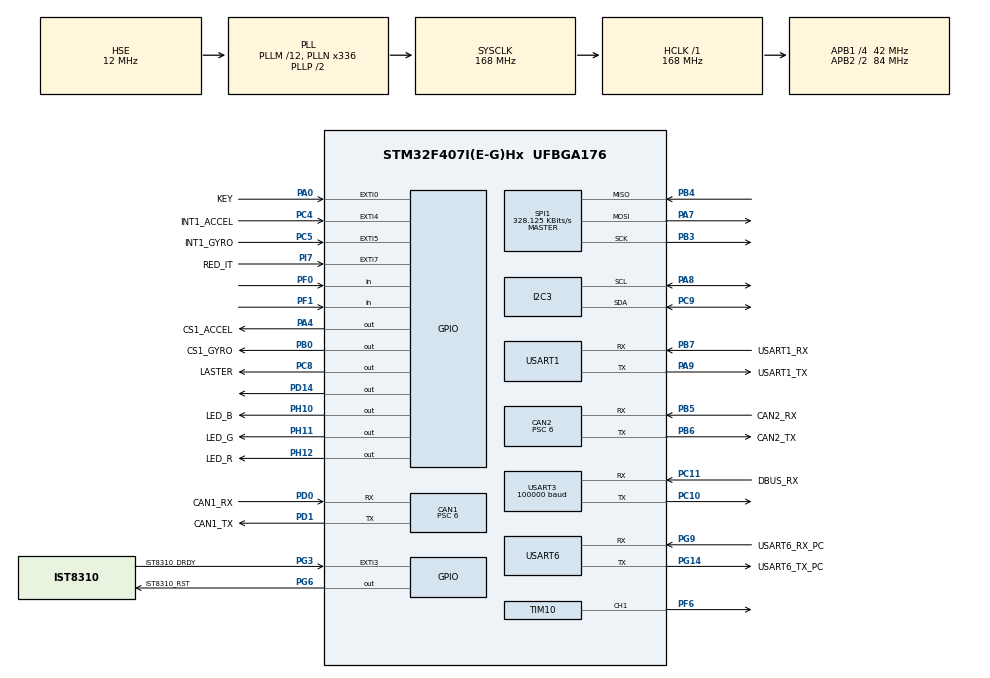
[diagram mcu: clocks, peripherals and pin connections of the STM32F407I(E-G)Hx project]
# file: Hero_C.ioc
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CAN1.BS1=CAN_BS1_2TQ
CAN1.BS2=CAN_BS2_4TQ
CAN1.CalculateTimeQuantum=142.85714285714286
CAN1.Prescaler=6
CAN2.BS1=CAN_BS1_2TQ
CAN2.BS2=CAN_BS2_4TQ
CAN2.CalculateTimeQuantum=142.85714285714286
CAN2.Prescaler=6
Dma.Request0=USART3_RX
Dma.Request1=USART6_RX
Dma.Request2=SPI1_RX
Dma.Request3=SPI1_TX
Dma.Request4=USART1_RX
Dma.SPI1_RX.2.Direction=DMA_PERIPH_TO_MEMORY
Dma.SPI1_RX.2.FIFOMode=DMA_FIFOMODE_DISABLE
Dma.SPI1_RX.2.Instance=DMA2_Stream2
Dma.SPI1_RX.2.MemDataAlignment=DMA_MDATAALIGN_BYTE
Dma.SPI1_RX.2.MemInc=DMA_MINC_ENABLE
Dma.SPI1_RX.2.Mode=DMA_NORMAL
Dma.SPI1_RX.2.PeriphDataAlignment=DMA_PDATAALIGN_BYTE
Dma.SPI1_RX.2.PeriphInc=DMA_PINC_DISABLE
Dma.SPI1_RX.2.Priority=DMA_PRIORITY_VERY_HIGH
Dma.SPI1_TX.3.Direction=DMA_MEMORY_TO_PERIPH
Dma.SPI1_TX.3.FIFOMode=DMA_FIFOMODE_DISABLE
Dma.SPI1_TX.3.Instance=DMA2_Stream3
Dma.SPI1_TX.3.MemDataAlignment=DMA_MDATAALIGN_BYTE
Dma.SPI1_TX.3.MemInc=DMA_MINC_ENABLE
Dma.SPI1_TX.3.Mode=DMA_NORMAL
Dma.SPI1_TX.3.PeriphDataAlignment=DMA_PDATAALIGN_BYTE
Dma.SPI1_TX.3.PeriphInc=DMA_PINC_DISABLE
Dma.SPI1_TX.3.Priority=DMA_PRIORITY_HIGH
Dma.USART1_RX.4.Direction=DMA_PERIPH_TO_MEMORY
Dma.USART1_RX.4.FIFOMode=DMA_FIFOMODE_DISABLE
Dma.USART1_RX.4.Instance=DMA2_Stream5
Dma.USART1_RX.4.MemDataAlignment=DMA_MDATAALIGN_BYTE
Dma.USART1_RX.4.MemInc=DMA_MINC_ENABLE
Dma.USART1_RX.4.Mode=DMA_CIRCULAR
Dma.USART1_RX.4.PeriphDataAlignment=DMA_PDATAALIGN_BYTE
Dma.USART1_RX.4.PeriphInc=DMA_PINC_DISABLE
Dma.USART1_RX.4.Priority=DMA_PRIORITY_LOW
Dma.USART3_RX.0.Direction=DMA_PERIPH_TO_MEMORY
Dma.USART3_RX.0.FIFOMode=DMA_FIFOMODE_DISABLE
Dma.USART3_RX.0.Instance=DMA1_Stream1
Dma.USART3_RX.0.MemDataAlignment=DMA_MDATAALIGN_BYTE
Dma.USART3_RX.0.MemInc=DMA_MINC_ENABLE
Dma.USART3_RX.0.Mode=DMA_CIRCULAR
Dma.USART3_RX.0.PeriphDataAlignment=DMA_PDATAALIGN_BYTE
Dma.USART3_RX.0.PeriphInc=DMA_PINC_DISABLE
Dma.USART3_RX.0.Priority=DMA_PRIORITY_HIGH
Dma.USART6_RX.1.Direction=DMA_PERIPH_TO_MEMORY
Dma.USART6_RX.1.FIFOMode=DMA_FIFOMODE_DISABLE
Dma.USART6_RX.1.Instance=DMA2_Stream1
Dma.USART6_RX.1.MemDataAlignment=DMA_MDATAALIGN_BYTE
Dma.USART6_RX.1.MemInc=DMA_MINC_ENABLE
Dma.USART6_RX.1.Mode=DMA_CIRCULAR
Dma.USART6_RX.1.PeriphDataAlignment=DMA_PDATAALIGN_BYTE
Dma.USART6_RX.1.PeriphInc=DMA_PINC_DISABLE
Dma.USART6_RX.1.Priority=DMA_PRIORITY_HIGH
FREERTOS.INCLUDE_vTaskDelayUntil=1
FREERTOS.Tasks01=defaultTask,0,128,StartDefaultTask,Default,NULL
I2C3.I2C_Mode=I2C_Fast
Mcu.Family=STM32F4
Mcu.Name=STM32F407I(E-G)Hx
Mcu.Package=UFBGA176
NVIC.CAN1_RX0_IRQn=true\:5\:0\:false\:false\:true\:true\:true\:true
NVIC.CAN2_RX0_IRQn=true\:5\:0\:false\:false\:true\:true\:true\:true
NVIC.DMA1_Stream1_IRQn=true\:5\:0\:false\:false\:true\:true\:false\:true
NVIC.DMA2_Stream1_IRQn=true\:5\:0\:false\:false\:true\:true\:false\:true
NVIC.DMA2_Stream2_IRQn=true\:0\:0\:false\:false\:true\:false\:false\:true
NVIC.DMA2_Stream3_IRQn=true\:5\:0\:false\:false\:true\:true\:false\:true
NVIC.DMA2_Stream5_IRQn=true\:5\:0\:false\:false\:true\:true\:false\:true
NVIC.EXTI0_IRQn=true\:0\:0\:false\:false\:true\:false\:true\:true
NVIC.EXTI3_IRQn=true\:0\:0\:false\:false\:true\:false\:true\:true
NVIC.EXTI4_IRQn=true\:0\:0\:false\:false\:true\:false\:true\:true
NVIC.EXTI9_5_IRQn=true\:0\:0\:false\:false\:true\:false\:true\:true
NVIC.PriorityGroup=NVIC_PRIORITYGROUP_4
NVIC.TIM2_IRQn=true\:0\:0\:false\:false\:true\:false\:false\:true
NVIC.TIM4_IRQn=true\:5\:0\:false\:false\:true\:true\:true\:true
NVIC.TimeBase=TIM2_IRQn
NVIC.TimeBaseIP=TIM2
NVIC.USART1_IRQn=true\:5\:0\:false\:false\:true\:true\:true\:true
NVIC.USART3_IRQn=true\:5\:0\:false\:false\:true\:true\:true\:true
NVIC.USART6_IRQn=true\:5\:0\:false\:false\:true\:true\:true\:true
PA0-WKUP.GPIO_Label=KEY
PA0-WKUP.Signal=GPXTI0
PA13.Mode=Serial_Wire
PA13.Signal=SYS_JTMS-SWDIO
PA14.Mode=Serial_Wire
PA14.Signal=SYS_JTCK-SWCLK
PA4.GPIO_Label=CS1_ACCEL
PA4.GPIO_PuPd=GPIO_PULLUP
PA4.GPIO_Speed=GPIO_SPEED_FREQ_HIGH
PA4.PinState=GPIO_PIN_SET
PA4.Signal=GPIO_Output
PA7.Mode=Full_Duplex_Master
PA7.Signal=SPI1_MOSI
PA8.Mode=I2C
PA8.Signal=I2C3_SCL
PA9.GPIO_Label=USART1_TX
PA9.Mode=Asynchronous
PA9.Signal=USART1_TX
PB0.GPIO_Label=CS1_GYRO
PB0.GPIO_PuPd=GPIO_PULLUP
PB0.GPIO_Speed=GPIO_SPEED_FREQ_HIGH
PB0.PinState=GPIO_PIN_SET
PB0.Signal=GPIO_Output
PB3.Mode=Full_Duplex_Master
PB3.Signal=SPI1_SCK
PB4.Mode=Full_Duplex_Master
PB4.Signal=SPI1_MISO
PB5.GPIO_Label=CAN2_RX
PB5.Mode=Slave
PB5.Signal=CAN2_RX
PB6.GPIO_Label=CAN2_TX
PB6.Mode=Slave
PB6.Signal=CAN2_TX
PB7.GPIO_Label=USART1_RX
PB7.Mode=Asynchronous
PB7.Signal=USART1_RX
PC10.Mode=Asynchronous
PC10.Signal=USART3_TX
PC11.GPIO_Label=DBUS_RX
PC11.Mode=Asynchronous
PC11.Signal=USART3_RX
PC4.GPIO_Label=INT1_ACCEL
PC4.GPIO_ModeDefaultEXTI=GPIO_MODE_IT_FALLING
PC4.GPIO_PuPd=GPIO_PULLUP
PC4.Signal=GPXTI4
PC5.GPIO_Label=INT1_GYRO
PC5.GPIO_ModeDefaultEXTI=GPIO_MODE_IT_FALLING
PC5.GPIO_PuPd=GPIO_PULLUP
PC5.Signal=GPXTI5
PC8.GPIO_Label=LASTER
PC8.Signal=GPIO_Output
PC9.Mode=I2C
PC9.Signal=I2C3_SDA
PD0.GPIO_Label=CAN1_RX
PD0.Mode=Master
PD0.Signal=CAN1_RX
PD1.GPIO_Label=CAN1_TX
PD1.Mode=Master
PD1.Signal=CAN1_TX
PD14.Signal=GPIO_Output
PF0.GPIO_PuPd=GPIO_PULLUP
PF0.Signal=GPIO_Input
PF1.GPIO_PuPd=GPIO_PULLUP
PF1.Signal=GPIO_Input
PF6.Signal=S_TIM10_CH1
PG14.GPIO_Label=USART6_TX_PC
PG14.Mode=Asynchronous
PG14.Signal=USART6_TX
PG3.GPIO_Label=IST8310_DRDY
PG3.GPIO_ModeDefaultEXTI=GPIO_MODE_IT_FALLING
PG3.GPIO_PuPd=GPIO_PULLUP
PG3.Signal=GPXTI3
PG6.GPIO_Label=IST8310_RST
PG6.GPIO_PuPd=GPIO_PULLUP
PG6.GPIO_Speed=GPIO_SPEED_FREQ_MEDIUM
PG6.PinState=GPIO_PIN_SET
PG6.Signal=GPIO_Output
PG9.GPIO_Label=USART6_RX_PC
PG9.Mode=Asynchronous
PG9.Signal=USART6_RX
PH0-OSC_IN.Mode=HSE-External-Oscillator
PH0-OSC_IN.Signal=RCC_OSC_IN
PH1-OSC_OUT.Mode=HSE-External-Oscillator
PH1-OSC_OUT.Signal=RCC_OSC_OUT
PH10.GPIO_Label=LED_B
PH10.Signal=GPIO_Output
PH11.GPIO_Label=LED_G
PH11.Signal=GPIO_Output
PH12.GPIO_Label=LED_R
PH12.Signal=GPIO_Output
PI7.GPIO_Label=RED_IT
PI7.Signal=GPXTI7
ProjectManager.HeapSize=0x200
ProjectManager.StackSize=0x400
ProjectManager.TargetToolchain=MDK-ARM V5
RCC.48MHZClocksFreq_Value=84000000
RCC.AHBFreq_Value=168000000
RCC.APB1CLKDivider=RCC_HCLK_DIV4
RCC.APB1Freq_Value=42000000
RCC.APB1TimFreq_Value=84000000
RCC.APB2CLKDivider=RCC_HCLK_DIV2
RCC.APB2Freq_Value=84000000
RCC.APB2TimFreq_Value=168000000
RCC.CortexFreq_Value=168000000
RCC.HCLKFreq_Value=168000000
RCC.HSE_VALUE=12000000
RCC.HSI_VALUE=16000000
RCC.LSE_VALUE=32768
RCC.PLLM=12
RCC.PLLN=336
RCC.PLLSourceVirtual=RCC_PLLSOURCE_HSE
RCC.SYSCLKFreq_VALUE=168000000
RCC.SYSCLKSource=RCC_SYSCLKSOURCE_PLLCLK
RCC.VCOOutputFreq_Value=336000000
SH.S_TIM10_CH1.0=TIM10_CH1,PWM Generation1 CH1
SPI1.BaudRatePrescaler=SPI_BAUDRATEPRESCALER_256
SPI1.CLKPhase=SPI_PHASE_2EDGE
SPI1.CLKPolarity=SPI_POLARITY_HIGH
SPI1.CalculateBaudRate=328.125 KBits/s
SPI1.Direction=SPI_DIRECTION_2LINES
SPI1.Mode=SPI_MODE_MASTER
SPI1.VirtualType=VM_MASTER
TIM10.Channel=TIM_CHANNEL_1
TIM10.Period=4999
TIM4.Period=99
TIM4.Prescaler=839
USART1.VirtualMode=VM_ASYNC
USART3.BaudRate=100000
USART3.VirtualMode=VM_ASYNC
USART6.VirtualMode=VM_ASYNC
VP_FREERTOS_VS_CMSIS_V1.Mode=CMSIS_V1
VP_SYS_VS_tim2.Mode=TIM2
VP_TIM10_VS_ClockSourceINT.Mode=Enable_Timer
VP_TIM4_VS_ClockSourceINT.Mode=Internal
board=custom

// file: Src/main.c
/* USER CODE BEGIN Header */
/**
  ******************************************************************************
  * @file           : main.c
  * @brief          : Main program body
  ******************************************************************************
  * @attention
  *
  * <h2><center>&copy; Copyright (c) 2021 STMicroelectronics.
  * All rights reserved.</center></h2>
  *
  * This software component is licensed by ST under Ultimate Liberty license
  * SLA0044, the "License"; You may not use this file except in compliance with
  * the License. You may obtain a copy of the License at:
  *                             www.st.com/SLA0044
  *
  ******************************************************************************
  */
/* USER CODE END Header */

#include "main.h"
#include "cmsis_os.h"
#include "can.h"
#include "dma.h"
#include "i2c.h"
#include "spi.h"
#include "tim.h"
#include "usart.h"
#include "gpio.h"

/* USER CODE BEGIN Includes */
#include "bsp.h"
/* USER CODE END Includes */

void SystemClock_Config(void);
void MX_FREERTOS_Init(void);

int main(void)
{

  /* MCU Configuration--------------------------------------------------------*/
  /* Reset of all peripherals, Initializes the Flash interface and the Systick. */
  HAL_Init();

  /* Configure the system clock */
  SystemClock_Config();
  /* USER CODE BEGIN SysInit */
  taskENTER_CRITICAL();
  /* USER CODE END SysInit */
  /* Initialize all configured peripherals */
  MX_GPIO_Init();
  MX_DMA_Init();
  MX_CAN1_Init();
  MX_CAN2_Init();
  MX_I2C3_Init();
  MX_SPI1_Init();
  MX_USART1_UART_Init();
  MX_USART3_UART_Init();
  MX_USART6_UART_Init();
  MX_TIM10_Init();
  MX_TIM4_Init();
  /* USER CODE BEGIN 2 */
	 BSP_Init();
  /* USER CODE END 2 */

  /* Call init function for freertos objects (in freertos.c) */
  MX_FREERTOS_Init();
  taskEXIT_CRITICAL();
  /* Start scheduler */
  osKernelStart();

  /* We should never get here as control is now taken by the scheduler */

  /* Infinite loop */
  while (1)
  {

  }
}

void SystemClock_Config(void)
{
  RCC_OscInitTypeDef RCC_OscInitStruct = {0};
  RCC_ClkInitTypeDef RCC_ClkInitStruct = {0};

  /*Configure the main internal regulator output voltage*/
  __HAL_RCC_PWR_CLK_ENABLE();
  __HAL_PWR_VOLTAGESCALING_CONFIG(PWR_REGULATOR_VOLTAGE_SCALE1);
  /*Initializes the CPU, AHB and APB busses clocks*/
  RCC_OscInitStruct.OscillatorType = RCC_OSCILLATORTYPE_HSE;
  RCC_OscInitStruct.HSEState = RCC_HSE_ON;
  RCC_OscInitStruct.PLL.PLLState = RCC_PLL_ON;
  RCC_OscInitStruct.PLL.PLLSource = RCC_PLLSOURCE_HSE;
  RCC_OscInitStruct.PLL.PLLM = 12;
  RCC_OscInitStruct.PLL.PLLN = 336;
  RCC_OscInitStruct.PLL.PLLP = RCC_PLLP_DIV2;
  RCC_OscInitStruct.PLL.PLLQ = 4;
  if (HAL_RCC_OscConfig(&RCC_OscInitStruct) != HAL_OK)
  {
    Error_Handler();
  }
  /** Initializes the CPU, AHB and APB busses clocks
  */
  RCC_ClkInitStruct.ClockType = RCC_CLOCKTYPE_HCLK|RCC_CLOCKTYPE_SYSCLK
                              |RCC_CLOCKTYPE_PCLK1|RCC_CLOCKTYPE_PCLK2;
  RCC_ClkInitStruct.SYSCLKSource = RCC_SYSCLKSOURCE_PLLCLK;
  RCC_ClkInitStruct.AHBCLKDivider = RCC_SYSCLK_DIV1;
  RCC_ClkInitStruct.APB1CLKDivider = RCC_HCLK_DIV4;
  RCC_ClkInitStruct.APB2CLKDivider = RCC_HCLK_DIV2;

  if (HAL_RCC_ClockConfig(&RCC_ClkInitStruct, FLASH_LATENCY_5) != HAL_OK)
  {
    Error_Handler();
  }
}

/* USER CODE BEGIN 4 */
/* USER CODE END   4 */

void Error_Handler(void)
{
}

/************************ (C) COPYRIGHT STMicroelectronics *****END OF FILE****/

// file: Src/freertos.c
/* USER CODE BEGIN Header */
/**
  ******************************************************************************
  * File Name          : freertos.c
  * Description        : Code for freertos applications
  ******************************************************************************
  * @attention
  *
  * <h2><center>&copy; Copyright (c) 2021 STMicroelectronics.
  * All rights reserved.</center></h2>
  *
  * This software component is licensed by ST under Ultimate Liberty license
  * SLA0044, the "License"; You may not use this file except in compliance with
  * the License. You may obtain a copy of the License at:
  *                             www.st.com/SLA0044
  *
  ******************************************************************************
  */
/* USER CODE END Header */

#include "FreeRTOS.h"
#include "task.h"
#include "main.h"
#include "cmsis_os.h"

/* USER CODE BEGIN Variables */
osThreadId imuTaskHandle;
osThreadId RemoteDataTaskHandle;
osThreadId OffLineCheckTaskHandle;
osThreadId GimbalControlTaskHandle;
osThreadId VisionDataTaskHandle;
osThreadId TriggerDriveTaskHandle;
osThreadId FrictionDriveTaskHandle;
osThreadId OscilloscopeTaskHandle;
/* USER CODE END Variables */
osThreadId defaultTaskHandle;

/* USER CODE BEGIN FunctionPrototypes */
void INS_task(void const *argument);
void Remote_Data_Task(void const * argument);
void OffLine_Check_Task(void const *argument);
void Gimbal_Control_Task(void const * argument);
void Vision_Data_Task(void const * argument);
void Trigger_Drive_Task(void const * argument);
void Friction_Drive_Task(void const * argument);
void Oscilloscope_Task(void const * argument);
/* USER CODE END FunctionPrototypes */

void StartDefaultTask(void const * argument);
void MX_FREERTOS_Init(void); /* (MISRA C 2004 rule 8.1) */

/* GetIdleTaskMemory prototype (linked to static allocation support) */
void vApplicationGetIdleTaskMemory( StaticTask_t **ppxIdleTaskTCBBuffer, StackType_t **ppxIdleTaskStackBuffer, uint32_t *pulIdleTaskStackSize );

/* USER CODE BEGIN GET_IDLE_TASK_MEMORY */
static StaticTask_t xIdleTaskTCBBuffer;
static StackType_t xIdleStack[configMINIMAL_STACK_SIZE];

void vApplicationGetIdleTaskMemory( StaticTask_t **ppxIdleTaskTCBBuffer, StackType_t **ppxIdleTaskStackBuffer, uint32_t *pulIdleTaskStackSize )
{
  *ppxIdleTaskTCBBuffer = &xIdleTaskTCBBuffer;
  *ppxIdleTaskStackBuffer = &xIdleStack[0];
  *pulIdleTaskStackSize = configMINIMAL_STACK_SIZE;
  /* place for user code */
}
/* USER CODE END GET_IDLE_TASK_MEMORY */

void MX_FREERTOS_Init(void) {

  /* USER CODE BEGIN RTOS_QUEUES */
  osThreadDef(IMU_TASK, INS_task, osPriorityNormal, 0, 256);                                 //陀螺仪任务
  imuTaskHandle = osThreadCreate(osThread(IMU_TASK), NULL);

	osThreadDef(RemoteDataTask, Remote_Data_Task, osPriorityAboveNormal, 0, 256);          					 //遥控器任务
	RemoteDataTaskHandle = osThreadCreate(osThread(RemoteDataTask), NULL);

	osThreadDef(OffLineCheckTask, OffLine_Check_Task, osPriorityNormal, 0, 128);							 //断线检测任务
	OffLineCheckTaskHandle = osThreadCreate(osThread(OffLineCheckTask), NULL);

	osThreadDef(GimbalControlTask, Gimbal_Control_Task, osPriorityNormal, 0, 256);  	     //云台控制任务
	GimbalControlTaskHandle = osThreadCreate(osThread(GimbalControlTask), NULL);

//	osThreadDef(VisionDataTask, Vision_Data_Task, osPriorityNormal, 0, 128);			 							 //视觉任务
//	VisionDataTaskHandle = osThreadCreate(osThread(VisionDataTask), NULL);

//	osThreadDef(TriggerDriveTask, Trigger_Drive_Task, osPriorityNormal, 0, 256);   		 	 //拨盘控制任务
//	TriggerDriveTaskHandle = osThreadCreate(osThread(TriggerDriveTask),  NULL);

//	osThreadDef(FrictionDriveTask, Friction_Drive_Task, osPriorityNormal, 0, 128);  	 	 //摩擦轮任务
//	FrictionDriveTaskHandle = osThreadCreate(osThread(FrictionDriveTask),  NULL);

//	osThreadDef(OscilloscopeTask, Oscilloscope_Task, osPriorityNormal, 0, 128);  	 	 //示波器
//	OscilloscopeTaskHandle = osThreadCreate(osThread(OscilloscopeTask),  NULL);
	/* USER CODE END RTOS_QUEUES */

  /* Create the thread(s) */
  /* definition and creation of defaultTask */
  osThreadDef(defaultTask, StartDefaultTask, osPriorityNormal, 0, 128);
  defaultTaskHandle = osThreadCreate(osThread(defaultTask), NULL);

}

void StartDefaultTask(void const * argument)
{
  for(;;)
  {
    osDelay(1);
  }
}

/************************ (C) COPYRIGHT STMicroelectronics *****END OF FILE****/
